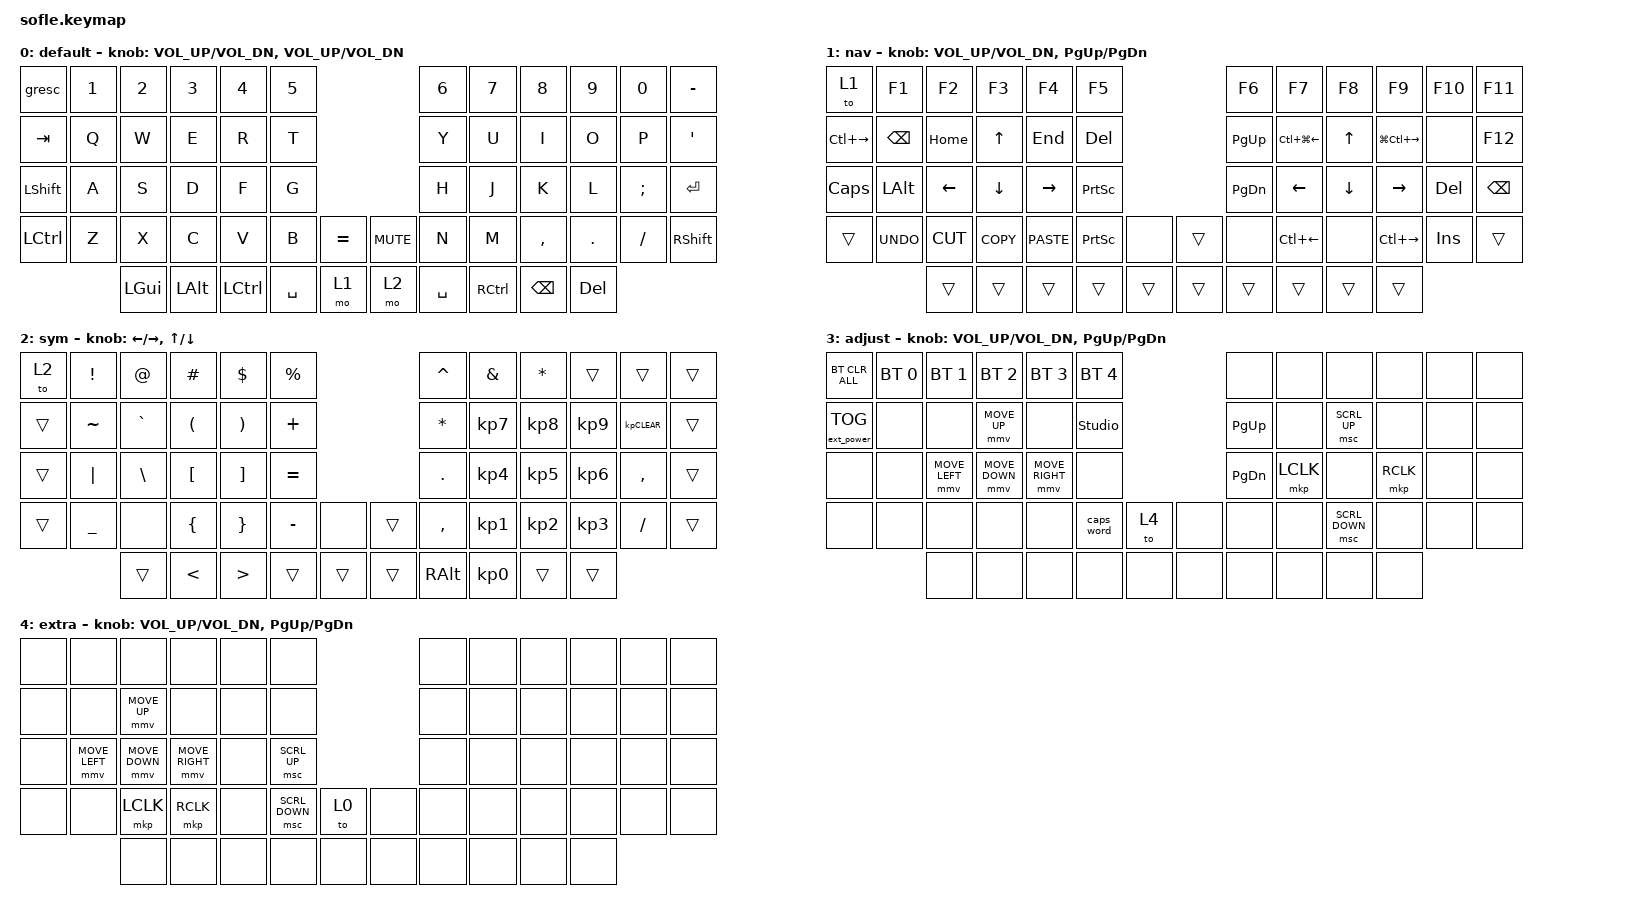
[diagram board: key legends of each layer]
/*
 * Copyright (c) 2020 The ZMK Contributors
 *
 * SPDX-License-Identifier: MIT
 */

#include <behaviors.dtsi>
#include <dt-bindings/zmk/bt.h>
#include <dt-bindings/zmk/ext_power.h>
#include <dt-bindings/zmk/keys.h>
#include <dt-bindings/zmk/pointing.h>

/*
// Encoders

&sensors { triggers-per-rotation = <30>; };

&left_encoder { steps = <60>; };

&right_encoder { steps = <60>; };
*/

#define BASE 0
#define LOWER 1
#define RAISE 2
#define ADJUST 3
#define EXTRA 4

/ {
    combos {
        compatible = "zmk,combos";

        backspace {
            bindings = <&kp BACKSPACE>;
            key-positions = <32 31>;
        };

        delete {
            bindings = <&kp DELETE>;
            key-positions = <27 28>;
        };

        esc {
            bindings = <&kp ESCAPE>;
            key-positions = <25 41>;
        };
    };

    keymap {
        compatible = "zmk,keymap";

        // swap C_MUTE & EQUAL for encoder on the right

        default_layer {
            display-name = "default";

            // ------------------------------------------------------------------------------------------------------------
            // |   `   |  1  |  2  |  3   |  4   |  5   |                   |  6   |  7    |  8    |  9   |   0   |       |
            // |  ESC  |  Q  |  W  |  E   |  R   |  T   |                   |  Y   |  U    |  I    |  O   |   P   | BKSPC |
            // |  TAB  |  A  |  S  |  D   |  F   |  G   |                   |  H   |  J    |  K    |  L   |   ;   |   '   |
            // | SHIFT |  Z  |  X  |  C   |  V   |  B   |  MUTE  |  |       |  N   |  M    |  ,    |  .   |   /   | SHIFT |
            //               | GUI | ALT  | CTRL | LOWER|  ENTER |  | SPACE | RAISE| CTRL  | ALT   | GUI  |

            bindings = <
&gresc            &kp N1  &kp N2    &kp N3    &kp N4     &kp N5                              &kp N6     &kp N7     &kp N8         &kp N9   &kp N0    &kp MINUS
&kp TAB           &kp Q   &kp W     &kp E     &kp R      &kp T                               &kp Y      &kp U      &kp I          &kp O    &kp P     &kp SQT
&kp LEFT_SHIFT    &kp A   &kp S     &kp D     &kp F      &kp G                               &kp H      &kp J      &kp K          &kp L    &kp SEMI  &kp ENTER
&kp LEFT_CONTROL  &kp Z   &kp X     &kp C     &kp V      &kp B      &kp EQUAL    &kp C_MUTE  &kp N      &kp M      &kp COMMA      &kp DOT  &kp FSLH  &kp RSHFT
                          &kp LGUI  &kp LALT  &kp LCTRL  &kp SPACE  &mo 1        &mo 2       &kp SPACE  &kp RCTRL  &kp BACKSPACE  &kp DEL
            >;

            sensor-bindings = <&inc_dec_kp C_VOL_UP C_VOL_DN &inc_dec_kp C_VOL_UP C_VOL_DN>;
        };

        navigation_layer {
            display-name = "nav";

            // ------------------------------------------------------------------------------------------------------------
            // | BTCLR | BT1  | BT2  |  BT3  |  BT4  |  BT5 |                |      |      |       |      |       |       |
            // |       | INS  | PSCR | GUI   |       |      |                | PGUP |      |   ^   |      |       |       |
            // |       | ALT  | CTRL | SHIFT |       | CAPS |                | PGDN |   <- |   v   |  ->  |  DEL  | BKSPC |
            // |       | UNDO | CUT  | COPY  | PASTE |      |      |  |      |      |      |       |      |       |       |
            //                |      |       |       |      |      |  |      |      |      |       |      |

            bindings = <
&to 1          &kp F1         &kp F2     &kp F3        &kp F4       &kp F5                             &kp F6     &kp F7              &kp F8    &kp F9             &kp F10     &kp F11
&kp LC(RIGHT)  &kp BACKSPACE  &kp HOME   &kp UP_ARROW  &kp END      &kp DELETE                         &kp PG_UP  &kp LC(LG(LEFT))    &kp UP    &kp LG(LC(RIGHT))  &none       &kp F12
&kp CLCK       &kp LALT       &kp LEFT   &kp DOWN      &kp RIGHT    &kp PRINTSCREEN                    &kp PG_DN  &kp LEFT            &kp DOWN  &kp RIGHT          &kp DEL     &kp BSPC
&trans         &kp K_UNDO     &kp K_CUT  &kp K_COPY    &kp K_PASTE  &kp PRINTSCREEN  &none     &trans  &none      &kp LC(LEFT_ARROW)  &none     &kp LC(RIGHT)      &kp INSERT  &trans
                              &trans     &trans        &trans       &trans           &trans    &trans  &trans     &trans              &trans    &trans
            >;

            sensor-bindings = <&inc_dec_kp C_VOL_UP C_VOL_DN &inc_dec_kp PG_UP PG_DN>;
        };

        symbol_layer {
            display-name = "sym";

            // TODO: Some binds are waiting for shifted keycode support.
            // ------------------------------------------------------------------------------------------------------------
            // |       |  F1 |  F2 |  F3  |  F4  |  F5  |                   |  F6  |  F7   |  F8   |  F9  |  F10  |  F11  |
            // |   `   |  1  |  2  |  3   |  4   |  5   |                   |  6   |  7    |  8    |  9   |   0   |  F12  |
            // |       |  !  |  @  |  #   |  $   |  %   |                   |  ^   |  &    |  *    |  (   |   )   |   |   |
            // |       |  =  |  -  |  +   |  {   |  }   |        |  |       |  [   |  ]    |  ;    |  :   |   \   |       |
            //               |     |      |      |      |        |  |       |      |       |       |      |

            bindings = <
&to 2   &kp EXCLAMATION  &kp AT_SIGN    &kp HASH              &kp DOLLAR             &kp PERCENT                    &kp CARET      &kp AMPERSAND    &kp ASTERISK     &trans           &trans        &trans
&trans  &kp TILDE        &kp GRAVE      &kp LEFT_PARENTHESIS  &kp RIGHT_PARENTHESIS  &kp PLUS                       &kp ASTRK      &kp KP_NUMBER_7  &kp KP_NUMBER_8  &kp KP_NUMBER_9  &kp KP_CLEAR  &trans
&trans  &kp PIPE         &kp BACKSLASH  &kp LEFT_BRACKET      &kp RIGHT_BRACKET      &kp EQUAL                      &kp PERIOD     &kp KP_NUMBER_4  &kp KP_NUMBER_5  &kp KP_NUMBER_6  &kp COMMA     &trans
&trans  &kp UNDER        &none          &kp LEFT_BRACE        &kp RIGHT_BRACE        &kp MINUS    &none     &trans  &kp COMMA      &kp KP_NUMBER_1  &kp KP_NUMBER_2  &kp KP_NUMBER_3  &kp SLASH     &trans
                         &trans         &kp LESS_THAN         &kp GREATER_THAN       &trans       &trans    &trans  &kp RIGHT_ALT  &kp KP_NUMBER_0  &trans           &trans
            >;

            sensor-bindings =
                <&inc_dec_kp LEFT_ARROW RIGHT_ARROW>,
                <&inc_dec_kp UP_ARROW DOWN_ARROW>;
        };

        adjust_layer {
            // ----------------------------------------------------------------------------------------------------------------------------
            // | BTCLR  |  BT1    |  BT2    |   BT3   |   BT4   |   BT5   |                  |      |      |       |      |       |       |
            // | EXTPWR | RGB_HUD | RGB_HUI | RGB_SAD | RGB_SAI | RGB_EFF |                  |      |      |       |      |       |       |
            // |        | RGB_BRD | RGB_BRI |         |         |         |                  |      |      |       |      |       |       |
            // |        |         |         |         |         |         | RGB_TOG | |      |      |      |       |      |       |       |
            //                    |         |         |         |         |         | |      |      |      |       |      |

            display-name = "adjust";
            bindings = <
&bt BT_CLR_ALL     &bt BT_SEL 0  &bt BT_SEL 1    &bt BT_SEL 2    &bt BT_SEL 3     &bt BT_SEL 4                    &none          &none      &none           &none      &none  &none
&ext_power EP_TOG  &none         &none           &mmv MOVE_UP    &none            &studio_unlock                  &kp PAGE_UP    &none      &msc SCRL_UP    &none      &none  &none
&none              &none         &mmv MOVE_LEFT  &mmv MOVE_DOWN  &mmv MOVE_RIGHT  &none                           &kp PAGE_DOWN  &mkp LCLK  &none           &mkp RCLK  &none  &none
&none              &none         &none           &none           &none            &caps_word      &to 4    &none  &none          &none      &msc SCRL_DOWN  &none      &none  &none
                                 &none           &none           &none            &none           &none    &none  &none          &none      &none           &none
            >;

            sensor-bindings = <&inc_dec_kp C_VOL_UP C_VOL_DN &inc_dec_kp PG_UP PG_DN>;
        };

        extra_layer {
            // ----------------------------------------------------------------------------------------------------------------------------
            // | BTCLR  |  BT1    |  BT2    |   BT3   |   BT4   |   BT5   |                  |      |      |       |      |       |       |
            // | EXTPWR | RGB_HUD | RGB_HUI | RGB_SAD | RGB_SAI | RGB_EFF |                  |      |      |       |      |       |       |
            // |        | RGB_BRD | RGB_BRI |         |         |         |                  |      |      |       |      |       |       |
            // |        |         |         |         |         |         | RGB_TOG | |      |      |      |       |      |       |       |
            //                    |         |         |         |         |         | |      |      |      |       |      |

            display-name = "extra";
            bindings = <
&none  &none           &none           &none            &none  &none                           &none  &none  &none  &none  &none  &none
&none  &none           &mmv MOVE_UP    &none            &none  &none                           &none  &none  &none  &none  &none  &none
&none  &mmv MOVE_LEFT  &mmv MOVE_DOWN  &mmv MOVE_RIGHT  &none  &msc SCRL_UP                    &none  &none  &none  &none  &none  &none
&none  &none           &mkp LCLK       &mkp RCLK        &none  &msc SCRL_DOWN  &to 0    &none  &none  &none  &none  &none  &none  &none
                       &none           &none            &none  &none           &none    &none  &none  &none  &none  &none
            >;

            sensor-bindings = <&inc_dec_kp C_VOL_UP C_VOL_DN &inc_dec_kp PG_UP PG_DN>;
        };
    };

    conditional_layers {
        compatible = "zmk,conditional-layers";

        Adjust_layer_momentary {
            if-layers = <1 2>;
            then-layer = <3>;
        };
    };
};
